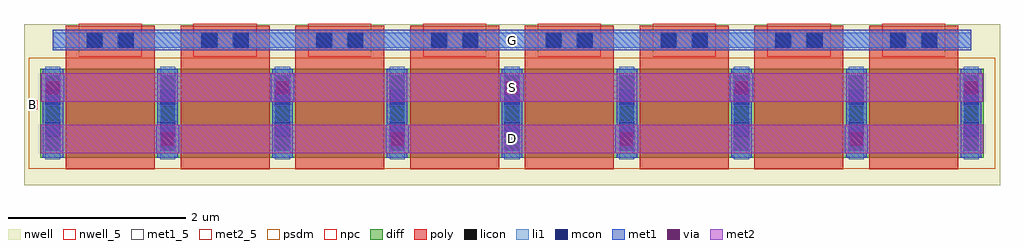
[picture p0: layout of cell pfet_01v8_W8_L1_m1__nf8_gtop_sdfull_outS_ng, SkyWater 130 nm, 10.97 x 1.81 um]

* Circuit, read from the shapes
.subckt pfet_01v8_W8_L1_m1__nf8_gtop_sdfull_outS_ng B D G S
XM1 D G S B sky130_fd_pr__pfet_01v8 w=1 l=1 m=8
.ends

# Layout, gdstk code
import gdstk
lib = gdstk.Library(unit=1e-6, precision=1e-09)
def R(c, l, rs):  # rectangles x0, y0, x1, y1
    for r in rs: c.add(gdstk.rectangle(r[:2], r[2:], *l))
def A(c, l, x, y, w, h, nx, ny, dx, dy):  # array of equal rectangles
    R(c, l, [(x+i*dx, y+j*dy, x+i*dx+w, y+j*dy+h) for i in range(nx) for j in range(ny)])
nwell_5 = (64, 5)
nwell = (64, 20)
diff = (65, 20)
poly = (66, 20)
licon = (66, 44)
li1 = (67, 20)
mcon = (67, 44)
met1_5 = (68, 5)
met1 = (68, 20)
via = (68, 44)
met2_5 = (69, 5)
met2 = (69, 20)
psdm = (94, 20)
npc = (95, 20)

sky130_fd_pr__pfet_01v8_ = lib.new_cell('sky130_fd_pr__pfet_01v8_LAX9XB')
R(sky130_fd_pr__pfet_01v8_, nwell, [(-5.485,-0.99,5.485,0.82)])
R(sky130_fd_pr__pfet_01v8_, diff, [(-5.305,-0.68,5.305,0.32)])
A(sky130_fd_pr__pfet_01v8_, poly, -5.015, -0.81, 1, 1.615, 8, 1, 1.29, 0)
A(sky130_fd_pr__pfet_01v8_, licon, -5.245, -0.605, 0.17, 0.17, 9, 3, 1.29, 0.34)
R(sky130_fd_pr__pfet_01v8_, licon, [(-4.77,0.555,-4.6,0.725), (-4.43,0.555,-4.26,0.725), (-3.48,0.555,-3.31,0.725), (-3.14,0.555,-2.97,0.725), (-2.19,0.555,-2.02,0.725), (-1.85,0.555,-1.68,0.725), (-0.9,0.555,-0.73,0.725), (-0.56,0.555,-0.39,0.725), (0.39,0.555,0.56,0.725), (0.73,0.555,0.9,0.725), (1.68,0.555,1.85,0.725), (2.02,0.555,2.19,0.725), (2.97,0.555,3.14,0.725), (3.31,0.555,3.48,0.725), (4.26,0.555,4.43,0.725), (4.6,0.555,4.77,0.725)])
A(sky130_fd_pr__pfet_01v8_, li1, -5.245, -0.7, 0.17, 1.04, 9, 1, 1.29, 0)
R(sky130_fd_pr__pfet_01v8_, li1, [(-5.16,0.555,5.16,0.725)])
A(sky130_fd_pr__pfet_01v8_, mcon, -5.245, -0.445, 0.17, 0.17, 9, 2, 1.29, 0.36)
R(sky130_fd_pr__pfet_01v8_, mcon, [(-4.78,0.555,-4.61,0.725), (-4.42,0.555,-4.25,0.725), (-3.49,0.555,-3.32,0.725), (-3.13,0.555,-2.96,0.725), (-2.2,0.555,-2.03,0.725), (-1.84,0.555,-1.67,0.725), (-0.91,0.555,-0.74,0.725), (-0.55,0.555,-0.38,0.725), (0.38,0.555,0.55,0.725), (0.74,0.555,0.91,0.725), (1.67,0.555,1.84,0.725), (2.03,0.555,2.2,0.725), (2.96,0.555,3.13,0.725), (3.32,0.555,3.49,0.725), (4.25,0.555,4.42,0.725), (4.61,0.555,4.78,0.725)])
A(sky130_fd_pr__pfet_01v8_, met1, -5.275, -0.68, 0.23, 1, 9, 1, 1.29, 0)
A(sky130_fd_pr__pfet_01v8_, met1, -4.995, 0.525, 0.96, 0.03, 8, 2, 1.29, 0.2)
R(sky130_fd_pr__pfet_01v8_, met1, [(-5.16,0.555,5.16,0.725)])
R(sky130_fd_pr__pfet_01v8_, psdm, [(-5.43,-0.805,5.43,0.445)])
A(sky130_fd_pr__pfet_01v8_, npc, -4.87, 0.455, 0.71, 0.37, 8, 1, 1.29, 0)
sky130_fd_pr__pfet_01v8_.add(gdstk.Label('D0', (-5.16,-0.18), layer=67, texttype=5))
sky130_fd_pr__pfet_01v8_.add(gdstk.Label('G', (4.515,0.64), layer=67, texttype=5))
sky130_fd_pr__pfet_01v8_.add(gdstk.Label('G', (3.225,0.64), layer=67, texttype=5))
sky130_fd_pr__pfet_01v8_.add(gdstk.Label('G', (1.935,0.64), layer=67, texttype=5))
sky130_fd_pr__pfet_01v8_.add(gdstk.Label('G', (0.645,0.64), layer=67, texttype=5))
sky130_fd_pr__pfet_01v8_.add(gdstk.Label('G', (-0.645,0.64), layer=67, texttype=5))
sky130_fd_pr__pfet_01v8_.add(gdstk.Label('G', (-1.935,0.64), layer=67, texttype=5))
sky130_fd_pr__pfet_01v8_.add(gdstk.Label('G', (-3.225,0.64), layer=67, texttype=5))
sky130_fd_pr__pfet_01v8_.add(gdstk.Label('G', (-4.515,0.64), layer=67, texttype=5))
sky130_fd_pr__pfet_01v8_.add(gdstk.Label('S1', (-3.87,-0.18), layer=67, texttype=5))
sky130_fd_pr__pfet_01v8_.add(gdstk.Label('D2', (-2.58,-0.18), layer=67, texttype=5))
sky130_fd_pr__pfet_01v8_.add(gdstk.Label('S3', (-1.29,-0.18), layer=67, texttype=5))
sky130_fd_pr__pfet_01v8_.add(gdstk.Label('D4', (0,-0.18), layer=67, texttype=5))
sky130_fd_pr__pfet_01v8_.add(gdstk.Label('S5', (1.29,-0.18), layer=67, texttype=5))
sky130_fd_pr__pfet_01v8_.add(gdstk.Label('D6', (2.58,-0.18), layer=67, texttype=5))
sky130_fd_pr__pfet_01v8_.add(gdstk.Label('S7', (3.87,-0.18), layer=67, texttype=5))

pfet_01v8_w8_l1_m1__nf8_ = lib.new_cell('pfet_01v8_W8_L1_m1__nf8_gtop_sdfull_outS_ng')
R(pfet_01v8_w8_l1_m1__nf8_, nwell_5, [(0.05,0.855,0.15,0.955)])
R(pfet_01v8_w8_l1_m1__nf8_, nwell, [(0.05,0.855,0.15,0.955)])
R(pfet_01v8_w8_l1_m1__nf8_, met1_5, [(0.325,1.515,10.645,1.745)])
A(pfet_01v8_w8_l1_m1__nf8_, met1, 1.485, 0.36, 0.26, 0.32, 4, 1, 2.58, 0)
A(pfet_01v8_w8_l1_m1__nf8_, met1, 0.195, 0.94, 0.26, 0.32, 5, 1, 2.58, 0)
R(pfet_01v8_w8_l1_m1__nf8_, met1, [(0.325,1.515,10.645,1.745)])
A(pfet_01v8_w8_l1_m1__nf8_, via, 1.54, 0.445, 0.15, 0.15, 4, 1, 2.58, 0)
A(pfet_01v8_w8_l1_m1__nf8_, via, 0.25, 1.025, 0.15, 0.15, 5, 1, 2.58, 0)
R(pfet_01v8_w8_l1_m1__nf8_, met2_5, [(0.19,0.36,10.78,0.68), (0.19,0.94,10.78,1.26)])
R(pfet_01v8_w8_l1_m1__nf8_, met2, [(0.19,0.36,10.78,0.68), (0.19,0.94,10.78,1.26)])
pfet_01v8_w8_l1_m1__nf8_.add(gdstk.Reference(sky130_fd_pr__pfet_01v8_, (5.485,0.99)))
pfet_01v8_w8_l1_m1__nf8_.add(gdstk.Label('S', (5.485,1.1), layer=69, texttype=5))
pfet_01v8_w8_l1_m1__nf8_.add(gdstk.Label('D', (5.485,0.52), layer=69, texttype=5))
pfet_01v8_w8_l1_m1__nf8_.add(gdstk.Label('G', (5.485,1.63), layer=68, texttype=5))
pfet_01v8_w8_l1_m1__nf8_.add(gdstk.Label('B', (0.1,0.905), layer=64, texttype=5))

lib.write_gds('pfet_01v8_W8_L1_m1__nf8_gtop_sdfull_outS_ng.gds')
